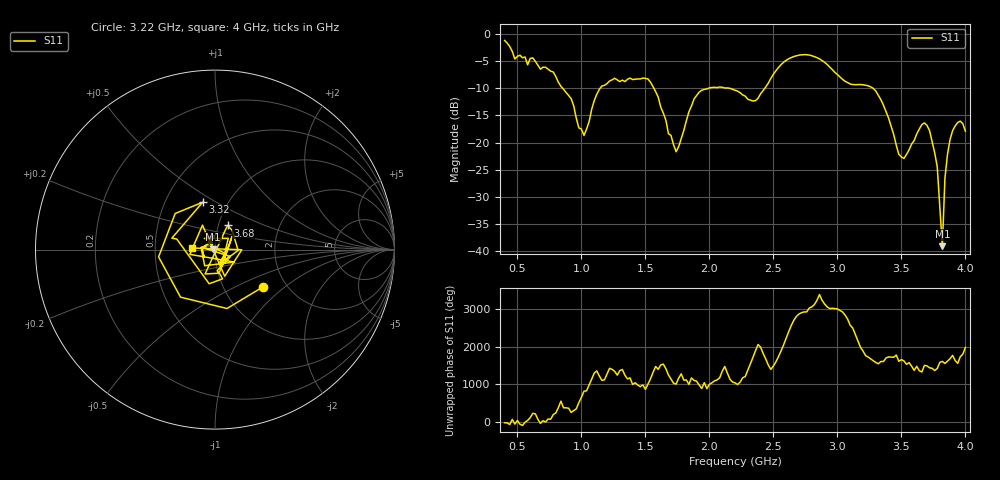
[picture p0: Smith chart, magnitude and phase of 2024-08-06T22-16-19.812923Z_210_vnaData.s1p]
!Created with skrf (http://scikit-rf.org).
# Hz S RI R 50.0
!freq ReS11 ImS11
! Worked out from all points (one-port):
!   181 points, 400 MHz to 4 GHz, reference 50 ohm
!   lowest |S11| = -39.2 dB at 3.82 GHz (marker M1), VSWR 1.02, Z = 48.9 + j0.23 ohm
!   |S11| at or under -10 dB: 855.2 MHz to 1.145 GHz (290 MHz wide, 29 % of centre); 1.567 GHz to 1.989 GHz (422 MHz wide, 23.7 % of centre); 3.281 GHz to end of sweep (the widest 3 of 4)
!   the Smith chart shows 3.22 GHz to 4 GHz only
!   S11 on the Smith chart (normalised r, x): 3.22 GHz: 1.52, -0.72; 3.32 GHz: 0.76, +0.44; 3.68 GHz: 1.11, +0.31; 4 GHz: 0.77, +0.01
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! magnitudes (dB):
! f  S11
! 400 MHz  -1.1
! 480 MHz  -4.6
! 620 MHz  -4.4
! 860 MHz  -10.1
! 1.02 GHz  -18.7
! 1.14 GHz  -10.2
! 1.3 GHz  -8.7
! 1.52 GHz  -8.2
! 1.74 GHz  -21.7
! 1.76 GHz  -20.7
! 1.92 GHz  -10.7
! 2.2 GHz  -10.3
! 2.36 GHz  -12.3
! 2.66 GHz  -4.1
! 2.86 GHz  -4.5
! 3.1 GHz  -9.2
! 3.22 GHz  -9.4
! 3.32 GHz  -11.3
! 3.48 GHz  -22.2
! 3.56 GHz  -21.3
! 3.68 GHz  -16.4
! 3.72 GHz  -17.8
! 3.78 GHz  -24.5
! 3.82 GHz  -39.2
! 3.84 GHz  -26.7
! 3.88 GHz  -19.4
! 3.96 GHz  -16.0
! 4 GHz  -17.9
